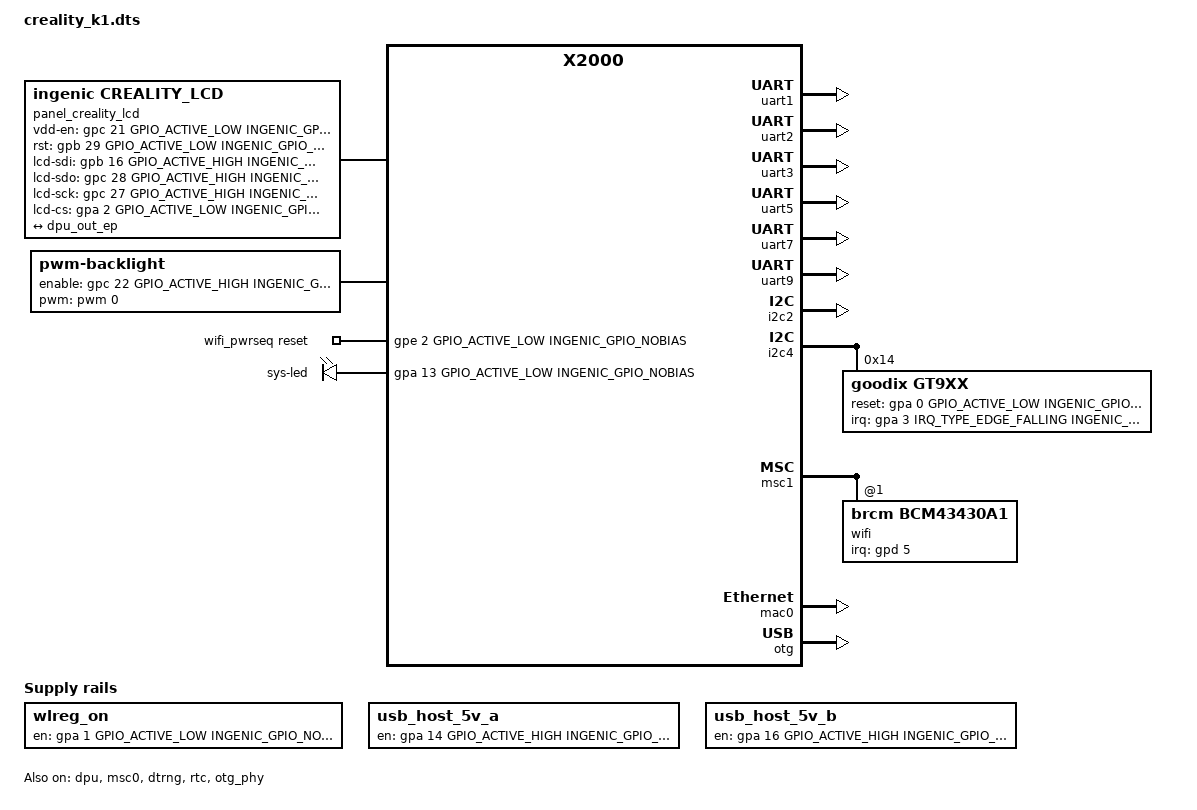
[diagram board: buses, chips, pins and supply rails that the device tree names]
/dts-v1/;

#include <dt-bindings/input/input.h>
#include "x2000.dtsi"
#include <dt-bindings/interrupt-controller/irq.h>
#include <generated/autoconf.h>

/ {
	compatible = "ingenic,crealityk1", "ingenic,x2000";

	extclk: extclk {
		clock-frequency = <24000000>;
	};

	reserved-memory {
		#address-cells = <1>;
		#size-cells = <1>;
		ranges = <>;

		reserved_memory: reserved_mem@6000000{
			compatible = "shared-dma-pool";
			reg-64M = <0x03000000 0x1000000>;
			reg-128M = <0x07000000 0x1000000>;
			reg-256M = <0x0f000000 0x1000000>;
		};
	};

	display-dbi {
		compatible = "simple-bus";
		#interrupt-cells = <1>;
		#address-cells = <1>;
		#size-cells = <1>;
		ranges = <>;
		panel_creality_lcd {
			compatible = "ingenic,creality_lcd";
			status = "okay";
			pinctrl-names = "default";
			pinctrl-0 = <&tft_lcd_pb_rgb565>;

			ingenic,vdd-en-gpios = <&gpc 21 GPIO_ACTIVE_LOW INGENIC_GPIO_NOBIAS>;
			ingenic,rst-gpios = <&gpb 29 GPIO_ACTIVE_LOW INGENIC_GPIO_NOBIAS>;
			ingenic,lcd-sdi-gpios = <&gpb 16 GPIO_ACTIVE_HIGH INGENIC_GPIO_NOBIAS>;
			ingenic,lcd-sdo-gpios = <&gpc 28 GPIO_ACTIVE_HIGH INGENIC_GPIO_NOBIAS>;
			ingenic,lcd-sck-gpios = <&gpc 27 GPIO_ACTIVE_HIGH INGENIC_GPIO_NOBIAS>;
			ingenic,lcd-cs-gpios = <&gpa 2 GPIO_ACTIVE_LOW INGENIC_GPIO_NOBIAS>;

			port {
				panel_creality_lcd_ep: endpoint {
					remote-endpoint = <&dpu_out_ep>;
				};
			};
		};
	};

	backlight {
		compatible = "pwm-backlight";
		pinctrl-names = "default";
		pinctrl-0 = <&pwm0_pc>;		
		pwms = <&pwm 0 20000>; /* arg1: pwm channel id [0~15]. arg2: period in ns. */
		brightness-levels = <0 1 2 3 4 5 6 7 8 9 10 11 12 13 14 15>;
		default-brightness-level = <10>;
		enable-gpios = <&gpc 22 GPIO_ACTIVE_HIGH INGENIC_GPIO_NOBIAS>;
	};	

	wlreg_on: wlreg-on {
		compatible = "regulator-fixed";
		regulator-name = "wlreg_on";
		gpio = <&gpa 1 GPIO_ACTIVE_LOW INGENIC_GPIO_NOBIAS>;
		enable-active-low;
		regulator-always-on;
		regulator-boot-on;
	};

	wifi_pwrseq: wifi-pwrseq {
		compatible = "mmc-pwrseq-simple";
		reset-gpios = <&gpe 2 GPIO_ACTIVE_LOW INGENIC_GPIO_NOBIAS>;
		post-power-on-delay-ms = <200>;
		power-off-delay-ms = <5>;
	};

	usb_host_5v_a: usb-host-5v-a {
		compatible = "regulator-fixed";
		regulator-name = "usb_host_5v_a";
		gpio = <&gpa 14 GPIO_ACTIVE_HIGH INGENIC_GPIO_NOBIAS>;
		enable-active-high;
		regulator-always-on;
		regulator-boot-on;
	};

	usb_host_5v_b: usb-host-5v-b {
		compatible = "regulator-fixed";
		regulator-name = "usb_host_5v_b";
		gpio = <&gpa 16 GPIO_ACTIVE_HIGH INGENIC_GPIO_NOBIAS>;
		enable-active-high;
		regulator-always-on;
		regulator-boot-on;
	};

	leds {
		compatible = "gpio-leds";
		status = "okay";

		sys_led {
			label = "sys-led";
			gpios = <&gpa 13 GPIO_ACTIVE_LOW INGENIC_GPIO_NOBIAS>;
			linux,default-trigger = "heartbeat";
			default-state = "off";
			panic-indicator;
		};
	};
};

&dpu {
	status = "okay";
	ingenic,disable-rdma-fb = <1>;
	ingenic,layer-exported  = <1 0 0 0>;
	ingenic,layer-frames    = <2 2 2 2>;
	ingenic,layer-framesize = <480 800>, <480 800>, <480 800>, <480 800>;   //Max framesize for each layer.
	layer,color_mode        = <0 0 0 0>;                                    //src fmt,
	layer,src-size          = <480 800>, <480 800>, <480 800>, <480 800>;   //Layer src size should smaller than framesize
	layer,target-size       = <480 800>, <480 800>, <480 800>, <480 800>;   //Target Size should smaller than src_size.
	layer,target-pos        = <0 0>, <0 0>, <0 0>, <0 0>;                   //target pos , the start point of the target panel.
	layer,enable            = <1 0 0 0>;                                    //layer enabled or disabled.
	ingenic,logo-pan-layer  = <0>;                                          //on which layer should init logo pan on.
	memory-region=<&reserved_memory>;
	port {
		dpu_out_ep: endpoint {
			remote-endpoint = <&panel_creality_lcd_ep>;
		};
	};
};

&uart0 {
	status = "disable";
};

&uart1_pc {
	ingenic,pinmux = <&gpc 23 24>;
};

&uart1 {
	status = "okay";
	pinctrl-names = "default";
	pinctrl-0 = <&uart1_pc>;
};

&uart2 {
	status = "okay";
	pinctrl-names = "default";
	pinctrl-0 = <&uart2_pd>;
};

&uart3 {
	status = "okay";
	pinctrl-names = "default";
	pinctrl-0 = <&uart3_pd>;
};

&uart5 {
	status = "okay";
	pinctrl-names = "default";
	pinctrl-0 = <&uart5_pa>;
};

&uart7 {
	status = "okay";
	pinctrl-names = "default";
	pinctrl-0 = <&uart7_pa>;
};

&uart9 {
	status = "okay";
	pinctrl-names = "default";
	pinctrl-0 = <&uart9_pb>;
};

&cpufreq {
	status = "okay";
	operating-points = <
		/*KHZ uV */
		1200000	900000
		750000	900000
		600000	900000
		500000	900000
		400000	900000
		375000	900000
		300000	900000
		200000	900000
			>;

};

&pinctrl {
	ingenic,gpa_voltage = <GPIO_VOLTAGE_1V8>;
	ingenic,gpe_msc_voltage = <GPIO_VOLTAGE_3V3>;

	touchscreen_pins:touchscreen-pins {
		touchscreen_int_out_high:touchscreen-int-out-high {
			ingenic,pinmux = <&gpa 3 3>;
			ingenic,pinmux-funcsel = <PINCTL_FUNCHILVL>;
		};
		touchscreen_int_out_low:touchscreen-int-out-low {
			ingenic,pinmux = <&gpa 3 3>;
			ingenic,pinmux-funcsel = <PINCTL_FUNCLOLVL>;
		};
		touchscreen_int_input:touchscreen-int-input {
			ingenic,pinmux = <&gpa 3 3>;
			ingenic,pinmux-funcsel = <PINCTL_FUNCINPUT_FE>;
		};
		touchscreen_default:touchscreen-default {
			ingenic,pinmux = <&gpa 3 3>;
			ingenic,pinmux-funcsel = <PINCTL_FUNCINPUT>;
		};
	};	
};

&i2c2 {
	status = "okay";
	pinctrl-names = "default";
	pinctrl-0 = <&i2c2_pb>;
};

&i2c4 {
	status = "okay";
	pinctrl-names = "default";
	pinctrl-0 = <&i2c4_pc>;

	goodix@14 {
		compatible = "goodix,gt9xx"; /* do not modify */
		reg = <0x14>; /* do not modify */
		reset-gpios = <&gpa 0 GPIO_ACTIVE_LOW INGENIC_GPIO_NOBIAS>; /* RST pin */
		irq-gpios = <&gpa 3 IRQ_TYPE_EDGE_FALLING INGENIC_GPIO_NOBIAS>; /* INT pin */
		irq-flags = <2>; /* 1 rising, 2 falling */
		goodix,driver-send-cfg = <0>;
		touchscreen-size-x = <480>;
		touchscreen-size-y = <800>;
		goodix,slide-wakeup = <0>;
		goodix,type-a-report = <0>;
		goodix,resume-in-workqueue = <0>;
		goodix,int-sync = <1>;
		goodix,swap-x2y = <0>;
		goodix,auto-update-cfg = <0>;
		goodix,power-off-sleep = <0>;
		pinctrl-names = "default", "int-output-high", "int-output-low", "int-input";
		pinctrl-0 = <&touchscreen_default>;
		pinctrl-1 = <&touchscreen_int_out_high>;
		pinctrl-2 = <&touchscreen_int_out_low>;
		pinctrl-3 = <&touchscreen_int_input>;
	};
};

&i2c3 {
	status = "disable";
};

&felix {
	status = "disable";
};

&helix {
	status = "disable";
};

&rotate {
	status = "disable";
};

&mscaler0 {
	status = "disable";
};

&mscaler1 {
	status = "disable";
};

&pdma {
	status = "okay";
};

&msc0 {
	status = "okay";
	pinctrl-names = "default";
	pinctrl-0 = <&msc0_8bit>;
	mmc-hs200-1_8v;
	cap-mmc-highspeed;
	non-removable;
	max-frequency = <100000000>;
	bus-width = <8>;
	voltage-ranges = <1800 3300>;
};

&msc1 {
	status = "okay";
	pinctrl-names = "default", "enable", "disable";
	pinctrl-0 = <&msc1_4bit>;
	pinctrl-1 = <&rtc32k_enable>;
	pinctrl-2 = <&rtc32k_disable>;

	bus-width = <4>;
	non-removable;
	keep-power-in-suspend;

	max-frequency = <100000000>;
	voltage-ranges = <1800 3300>;
	
	mmc-pwrseq = <&wifi_pwrseq>;

	wifi@1 {
		reg = <1>;
		compatible = "brcm,bcm43430a1";

		interrupt-parent = <&gpd>;
		interrupts = <5 IRQ_TYPE_LEVEL_HIGH>;
		interrupt-names = "host-wake";

		wakeup-source;

		brcm,board-type = "AP6212";
	};
};

&mac0 {
	pinctrl-names = "default", "reset";
	pinctrl-0 = <&mac0_rmii_p0_normal>, <&mac0_rmii_p1_normal>, <&mac0_phy_clk>;
	pinctrl-1 = <&mac0_rmii_p0_rst>, <&mac0_rmii_p1_normal>, <&mac0_phy_clk>;
	status = "okay";
	ingenic,rst-gpio = <&gpc 5 GPIO_ACTIVE_LOW INGENIC_GPIO_NOBIAS>;
	ingenic,rst-ms = <10>;
	ingenic,rst-delay-ms = <15>;
	ingenic,mac-mode = <RMII>;
	ingenic,mode-reg = <0xb00000e4>;
	ingenic,phy-clk-freq = <50000000>;
};

&dtrng {
	status = "okay";
};

&otg {
	status = "okay";
};

&rtc {
	status = "okay";
};

&otg_phy {
	ingenic,drvvbus-gpio = <&gpa 15 GPIO_ACTIVE_HIGH INGENIC_GPIO_NOBIAS>;
	status = "okay";
};

/* Board Sleep GPIO configuration. */
/* <0 1 2 3 .... 31>, set one of the pin to state.*/
&gpa {
	ingenic,gpio-sleep-pullup 	= <>;
	ingenic,gpio-sleep-pulldown 	= <>;
	ingenic,gpio-sleep-hiz		= <>;
	ingenic,gpio-sleep-low		= <>;
	ingenic,gpio-sleep-high		= <>;
	ingenic,gpio-sleep-func0    = <>;
	ingenic,gpio-sleep-func1    = <>;
	ingenic,gpio-sleep-func2    = <>;
	ingenic,gpio-sleep-func3    = <>;
};

&gpb {
	ingenic,gpio-sleep-pullup 	= <>;
	ingenic,gpio-sleep-pulldown 	= <>;
	ingenic,gpio-sleep-hiz		= <>;
	ingenic,gpio-sleep-low		= <>;
	ingenic,gpio-sleep-high		= <>;
	ingenic,gpio-sleep-func0    = <>;
	ingenic,gpio-sleep-func1    = <>;
	ingenic,gpio-sleep-func2    = <>;
	ingenic,gpio-sleep-func3    = <>;
};

&gpc {
	ingenic,gpio-sleep-pullup 	= <>;
	ingenic,gpio-sleep-pulldown 	= <>;
	ingenic,gpio-sleep-hiz		= <>;
	ingenic,gpio-sleep-low		= <>;
	ingenic,gpio-sleep-high		= <>;
	ingenic,gpio-sleep-func0    = <>;
	ingenic,gpio-sleep-func1    = <>;
	ingenic,gpio-sleep-func2    = <>;
	ingenic,gpio-sleep-func3    = <>;
};

&gpd {
	ingenic,gpio-sleep-pullup 	= <>;
	ingenic,gpio-sleep-pulldown 	= <>;
	ingenic,gpio-sleep-hiz		= <>;
	ingenic,gpio-sleep-low		= <>;
	ingenic,gpio-sleep-high		= <>;
	ingenic,gpio-sleep-func0    = <>;
	ingenic,gpio-sleep-func1    = <>;
	ingenic,gpio-sleep-func2    = <>;
	ingenic,gpio-sleep-func3    = <>;
};
